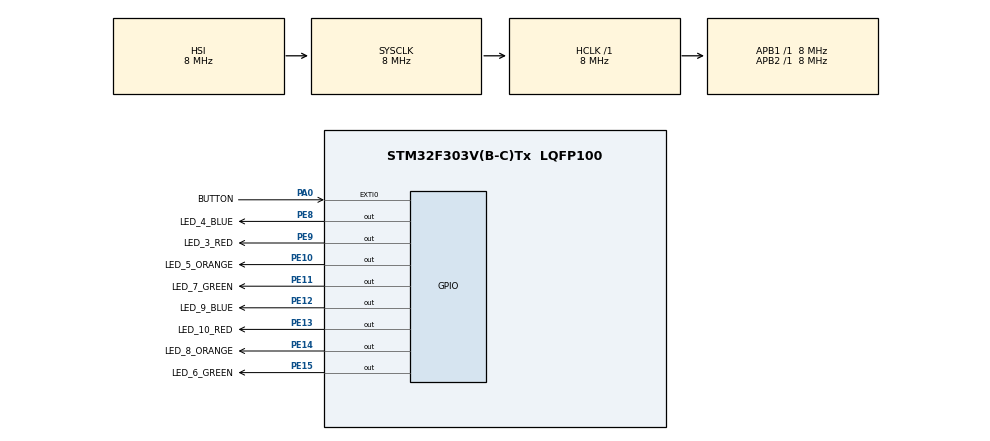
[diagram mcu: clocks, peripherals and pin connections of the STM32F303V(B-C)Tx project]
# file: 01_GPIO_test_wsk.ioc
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Mcu.Family=STM32F3
Mcu.Name=STM32F303V(B-C)Tx
Mcu.Package=LQFP100
NVIC.EXTI0_IRQn=true\:0\:0\:false\:false\:true\:true
NVIC.PriorityGroup=NVIC_PRIORITYGROUP_4
PA0.GPIO_Label=BUTTON
PA0.GPIO_ModeDefaultEXTI=GPIO_MODE_IT_RISING
PA0.Signal=GPXTI0
PE10.GPIO_Label=LED_5_ORANGE
PE10.Signal=GPIO_Output
PE11.GPIO_Label=LED_7_GREEN
PE11.Signal=GPIO_Output
PE12.GPIO_Label=LED_9_BLUE
PE12.Signal=GPIO_Output
PE13.GPIO_Label=LED_10_RED
PE13.Signal=GPIO_Output
PE14.GPIO_Label=LED_8_ORANGE
PE14.Signal=GPIO_Output
PE15.GPIO_Label=LED_6_GREEN
PE15.Signal=GPIO_Output
PE8.GPIO_Label=LED_4_BLUE
PE8.Signal=GPIO_Output
PE9.GPIO_Label=LED_3_RED
PE9.Signal=GPIO_Output
ProjectManager.HeapSize=0x200
ProjectManager.StackSize=0x400
ProjectManager.TargetToolchain=SW4STM32
RCC.AHBFreq_Value=8000000
RCC.APB1Freq_Value=8000000
RCC.APB2Freq_Value=8000000
RCC.CortexFreq_Value=8000000
RCC.HSE_VALUE=8000000
RCC.HSI_VALUE=8000000
RCC.LSE_VALUE=32768
RCC.SYSCLKFreq_VALUE=8000000
board=01_GPIO_test_wsk

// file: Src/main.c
/**
  ******************************************************************************
  * @file           : main.c
  * @brief          : Main program body
  ******************************************************************************
  ** This notice applies to any and all portions of this file
  * that are not between comment pairs USER CODE BEGIN and
  * USER CODE END. Other portions of this file, whether
  * inserted by the user or by software development tools
  * are owned by their respective copyright owners.
  *
  * COPYRIGHT(c) 2018 STMicroelectronics
  *
  * Redistribution and use in source and binary forms, with or without modification,
  * are permitted provided that the following conditions are met:
  *   1. Redistributions of source code must retain the above copyright notice,
  *      this list of conditions and the following disclaimer.
  *   2. Redistributions in binary form must reproduce the above copyright notice,
  *      this list of conditions and the following disclaimer in the documentation
  *      and/or other materials provided with the distribution.
  *   3. Neither the name of STMicroelectronics nor the names of its contributors
  *      may be used to endorse or promote products derived from this software
  *      without specific prior written permission.
  *
  * THIS SOFTWARE IS PROVIDED BY THE COPYRIGHT HOLDERS AND CONTRIBUTORS "AS IS"
  * AND ANY EXPRESS OR IMPLIED WARRANTIES, INCLUDING, BUT NOT LIMITED TO, THE
  * IMPLIED WARRANTIES OF MERCHANTABILITY AND FITNESS FOR A PARTICULAR PURPOSE ARE
  * DISCLAIMED. IN NO EVENT SHALL THE COPYRIGHT HOLDER OR CONTRIBUTORS BE LIABLE
  * FOR ANY DIRECT, INDIRECT, INCIDENTAL, SPECIAL, EXEMPLARY, OR CONSEQUENTIAL
  * DAMAGES (INCLUDING, BUT NOT LIMITED TO, PROCUREMENT OF SUBSTITUTE GOODS OR
  * SERVICES; LOSS OF USE, DATA, OR PROFITS; OR BUSINESS INTERRUPTION) HOWEVER
  * CAUSED AND ON ANY THEORY OF LIABILITY, WHETHER IN CONTRACT, STRICT LIABILITY,
  * OR TORT (INCLUDING NEGLIGENCE OR OTHERWISE) ARISING IN ANY WAY OUT OF THE USE
  * OF THIS SOFTWARE, EVEN IF ADVISED OF THE POSSIBILITY OF SUCH DAMAGE.
  *
  ******************************************************************************
  */
#include "main.h"
#include "stm32f3xx_hal.h"

/* USER CODE BEGIN PV */
#define LEDn 8

typedef enum
{
  LED3 = 0,
  LED4 = 1,
  LED5 = 2,
  LED6 = 3,
  LED7 = 4,
  LED8 = 5,
  LED9 = 6,
  LED10 = 7
} Led_TypeDef;

uint16_t GPIO_PIN[LEDn] = {LED_3_RED_Pin, LED_4_BLUE_Pin, LED_5_ORANGE_Pin, LED_6_GREEN_Pin,
		LED_7_GREEN_Pin, LED_8_ORANGE_Pin, LED_9_BLUE_Pin, LED_10_RED_Pin};

GPIO_TypeDef* GPIO_PORT[LEDn] = {LED_3_RED_GPIO_Port, LED_4_BLUE_GPIO_Port, LED_5_ORANGE_GPIO_Port,
                                 LED_6_GREEN_GPIO_Port, LED_7_GREEN_GPIO_Port, LED_8_ORANGE_GPIO_Port,
                                 LED_9_BLUE_GPIO_Port, LED_10_RED_GPIO_Port };
uint8_t LED_SEQ[LEDn] = {LED3, LED5, LED7, LED9, LED10, LED8, LED6, LED4};
/* Private variables ---------------------------------------------------------*/

/* USER CODE END PV */

void SystemClock_Config(void);
static void MX_GPIO_Init(void);

/* USER CODE BEGIN PFP */
void STM_EVAL_LEDOn(Led_TypeDef Led);
void STM_EVAL_LEDOff(Led_TypeDef Led);
void STM_EVAL_LEDToggle(Led_TypeDef Led);
/* Private function prototypes -----------------------------------------------*/

//----------- tablica z poleceniami AT i wskaŸnikami funkcji do ich obs³ugi --------------------
void at_service(uint8_t inout, char * params);
void ati_service(uint8_t inout, char * params);

typedef struct {
	char polecenie_at[8];
	int8_t (* at_service)(uint8_t inout, char * params);
} TATCMD;

#define AT_CNT 	2	// iloæ poleceñ AT
const TATCMD polecenia_at[AT_CNT] = {
// { at_cmd } , { wskaŸnik do funkcji obs³ugi at },
		{ "AT", at_service },
		{"ATI", 	ati_service}
//		{"AT+RST", 	at_rst_service},
//		{"AT+IR", 	at_ir_service},
//		{"AT+LED", 	at_led_service},
//		{"AT+LCD", 	at_lcd_service}
		};

void funkcja(uint8_t inout, char * params)
{
	static uint8_t indeks = 0;
	static uint8_t zapal = 1;

	if (0 == strncasecmp("ATI",polecenia_at[1].polecenie_at, 3))
	{
		if(zapal) HAL_GPIO_WritePin(GPIO_PORT[LED_SEQ[indeks]], GPIO_PIN[LED_SEQ[indeks]], GPIO_PIN_SET);
					else HAL_GPIO_WritePin(GPIO_PORT[LED_SEQ[indeks]], GPIO_PIN[LED_SEQ[indeks]], GPIO_PIN_RESET);

			if(++indeks >= LEDn)
			{
				indeks = 0;
				if(zapal) zapal = 0;
				else zapal = 1;
			}
	}

}
void at_service(uint8_t inout, char * params)
{

}
void ati_service(uint8_t inout, char * params)
{

}

void HAL_GPIO_EXTI_Callback(uint16_t GPIO_Pin){

//	if(HAL_GPIO_ReadPin(BUTTON_GPIO_Port, BUTTON_Pin) == GPIO_PIN_SET)
//	{
//	  HAL_GPIO_WritePin(LED_6_GREEN_GPIO_Port, LED_6_GREEN_Pin, GPIO_PIN_SET);
//	}
//	else
//	{
//	  HAL_GPIO_WritePin(LED_6_GREEN_GPIO_Port, LED_6_GREEN_Pin, GPIO_PIN_RESET);;
//	}

	//HAL_GPIO_WritePin(LED_6_GREEN_GPIO_Port, LED_6_GREEN_Pin, HAL_GPIO_ReadPin(BUTTON_USER_GPIO_Port, BUTTON_USER_Pin));

	if(GPIO_Pin == BUTTON_Pin){
		void (*_at_srv)(uint8_t inout, char * data);
		//_at_srv = (void *) pgm_read_word(&polecenia_at[i].at_service);
		_at_srv = funkcja;
		//funkcja();
		_at_srv(2,0);
	}
}
/* USER CODE END PFP */

int main(void)
{

  /* MCU Configuration----------------------------------------------------------*/

  /* Reset of all peripherals, Initializes the Flash interface and the Systick. */
  HAL_Init();

  /* Configure the system clock */
  SystemClock_Config();

  /* Initialize all configured peripherals */
  MX_GPIO_Init();
  /* USER CODE BEGIN 2 */
  //Uzupe³nianie komend CTRL+SPACJA
  //HAL_GPIO_WritePin(GPIOE, GPIO_PIN_15, GPIO_PIN_SET);
  /* USER CODE END 2 */

  /* Infinite loop */
  /* USER CODE BEGIN WHILE */
  while (1)
  {
//	Project > Clean
//	Project > C/C++ Index > Rebuild
//	Project > C/C++ Index > Freshen All Files

//	  if(HAL_GPIO_ReadPin(BUTTON_USER_GPIO_Port, BUTTON_USER_Pin) == GPIO_PIN_SET)
//	  {
//		  HAL_GPIO_WritePin(LED_6_GREEN_GPIO_Port, LED_6_GREEN_Pin, GPIO_PIN_SET);
//	  }
//	  else
//	  {
//		  HAL_GPIO_WritePin(LED_6_GREEN_GPIO_Port, LED_6_GREEN_Pin, GPIO_PIN_RESET);;
//	  }

  /* USER CODE END WHILE */

  }

}

void SystemClock_Config(void)
{

  RCC_OscInitTypeDef RCC_OscInitStruct;
  RCC_ClkInitTypeDef RCC_ClkInitStruct;

    /**Initializes the CPU, AHB and APB busses clocks
    */
  RCC_OscInitStruct.OscillatorType = RCC_OSCILLATORTYPE_HSI;
  RCC_OscInitStruct.HSIState = RCC_HSI_ON;
  RCC_OscInitStruct.HSICalibrationValue = 16;
  RCC_OscInitStruct.PLL.PLLState = RCC_PLL_NONE;
  if (HAL_RCC_OscConfig(&RCC_OscInitStruct) != HAL_OK)
  {
    _Error_Handler(__FILE__, __LINE__);
  }

    /**Initializes the CPU, AHB and APB busses clocks
    */
  RCC_ClkInitStruct.ClockType = RCC_CLOCKTYPE_HCLK|RCC_CLOCKTYPE_SYSCLK
                              |RCC_CLOCKTYPE_PCLK1|RCC_CLOCKTYPE_PCLK2;
  RCC_ClkInitStruct.SYSCLKSource = RCC_SYSCLKSOURCE_HSI;
  RCC_ClkInitStruct.AHBCLKDivider = RCC_SYSCLK_DIV1;
  RCC_ClkInitStruct.APB1CLKDivider = RCC_HCLK_DIV1;
  RCC_ClkInitStruct.APB2CLKDivider = RCC_HCLK_DIV1;

  if (HAL_RCC_ClockConfig(&RCC_ClkInitStruct, FLASH_LATENCY_0) != HAL_OK)
  {
    _Error_Handler(__FILE__, __LINE__);
  }

    /**Configure the Systick interrupt time
    */
  HAL_SYSTICK_Config(HAL_RCC_GetHCLKFreq()/1000);

    /**Configure the Systick
    */
  HAL_SYSTICK_CLKSourceConfig(SYSTICK_CLKSOURCE_HCLK);

  /* SysTick_IRQn interrupt configuration */
  HAL_NVIC_SetPriority(SysTick_IRQn, 0, 0);
}

/** Configure pins as
        * Analog
        * Input
        * Output
        * EVENT_OUT
        * EXTI
*/
static void MX_GPIO_Init(void)
{

  GPIO_InitTypeDef GPIO_InitStruct;

  /* GPIO Ports Clock Enable */
  __HAL_RCC_GPIOA_CLK_ENABLE();
  __HAL_RCC_GPIOE_CLK_ENABLE();

  /*Configure GPIO pin Output Level */
  HAL_GPIO_WritePin(GPIOE, LED_4_BLUE_Pin|LED_3_RED_Pin|LED_5_ORANGE_Pin|LED_7_GREEN_Pin
                          |LED_9_BLUE_Pin|LED_10_RED_Pin|LED_8_ORANGE_Pin|LED_6_GREEN_Pin, GPIO_PIN_RESET);

  /*Configure GPIO pin : BUTTON_Pin */
  GPIO_InitStruct.Pin = BUTTON_Pin;
  GPIO_InitStruct.Mode = GPIO_MODE_IT_RISING;
  GPIO_InitStruct.Pull = GPIO_NOPULL;
  HAL_GPIO_Init(BUTTON_GPIO_Port, &GPIO_InitStruct);

  /*Configure GPIO pins : LED_4_BLUE_Pin LED_3_RED_Pin LED_5_ORANGE_Pin LED_7_GREEN_Pin
                           LED_9_BLUE_Pin LED_10_RED_Pin LED_8_ORANGE_Pin LED_6_GREEN_Pin */
  GPIO_InitStruct.Pin = LED_4_BLUE_Pin|LED_3_RED_Pin|LED_5_ORANGE_Pin|LED_7_GREEN_Pin
                          |LED_9_BLUE_Pin|LED_10_RED_Pin|LED_8_ORANGE_Pin|LED_6_GREEN_Pin;
  GPIO_InitStruct.Mode = GPIO_MODE_OUTPUT_PP;
  GPIO_InitStruct.Pull = GPIO_NOPULL;
  GPIO_InitStruct.Speed = GPIO_SPEED_FREQ_LOW;
  HAL_GPIO_Init(GPIOE, &GPIO_InitStruct);

  /* EXTI interrupt init*/
  HAL_NVIC_SetPriority(EXTI0_IRQn, 0, 0);
  HAL_NVIC_EnableIRQ(EXTI0_IRQn);

}

/* USER CODE BEGIN 4 */
void STM_EVAL_LEDOn(Led_TypeDef Led)
{
  GPIO_PORT[Led]->BSRR = GPIO_PIN[Led];
}

void STM_EVAL_LEDOff(Led_TypeDef Led)
{
  GPIO_PORT[Led]->BRR = GPIO_PIN[Led];
}

void STM_EVAL_LEDToggle(Led_TypeDef Led)
{
  GPIO_PORT[Led]->ODR ^= GPIO_PIN[Led];
}
/* USER CODE END 4 */

void _Error_Handler(char *file, int line)
{
  while(1)
  {
  }
}

/************************ (C) COPYRIGHT STMicroelectronics *****END OF FILE****/
